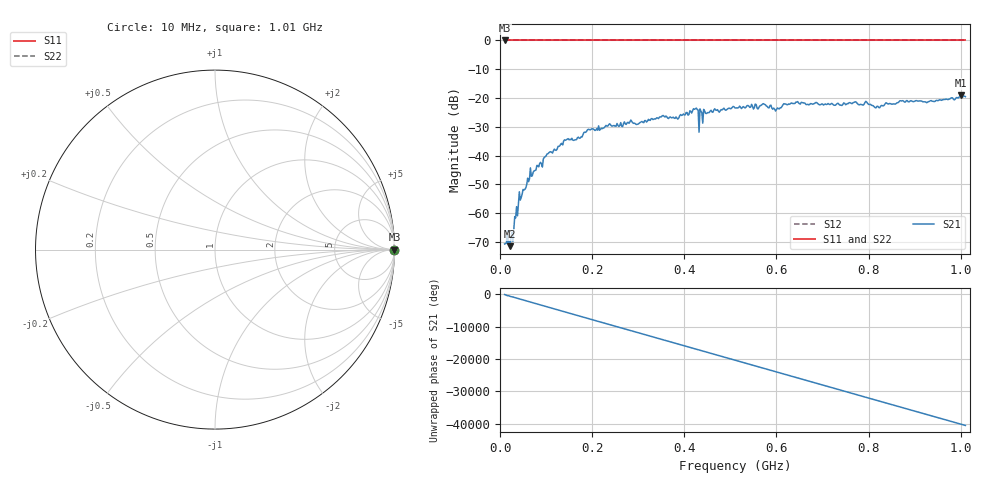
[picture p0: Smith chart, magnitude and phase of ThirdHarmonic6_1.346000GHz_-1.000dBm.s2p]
! 8/16/2025 3:07:53 PM
! C:\ANRITSUVNA\TEMP\TEMP.S2P
! CHANNEL.1
! TR.MEASUREMENT
! RAW.DATA
! RF.CORRECTION.OFF
! AVERAGING.OFF
! IF.BANDWIDTH: 5KHZ
! SWEEPTYPE:  FREQ.SWEEP(Linear)
! Reference Plane Port Info
! PORT:  PORT1  PORT2
! DISTANCE:  0  m  0  m
! TIME:  0  s  0  s
! PHASE.OFFSET:  0  deg.  0  deg.
! LOSS:  0  dB  0  dB
! REF.LOSS:  0  dB  0  dB
! REF.FREQ:  0  Hz  0  Hz
! Power Info
! POWER:  -20  dBm  -20  dBm
! EFF.POWER:  -20  dBm  -20  dBm
! SOURCE.ATTEN:  0  dB  0  dB
! TEST.ATTEN:  0  dB  0  dB
# GHZ S RI R 50.0
! FREQ.GHZ  S11RE  S11IM  S21RE  S21IM  S12RE  S12IM  S22RE  S22IM
!; PortSelection: Port_12
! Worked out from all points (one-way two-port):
!   501 points, 10 MHz to 1.01 GHz, reference 50 ohm
!   highest |S21| = -19.08 dB at 1 GHz (marker M1); lowest = -71.4 dB at 22 MHz (marker M2)
!   lowest |S11| = 0.0 dB at 10 MHz (marker M3)
!   |S11| at or under -10 dB: nowhere
!   |S22| runs from 0.0 to 0.0 dB; largest |S21 - S12| = 1.1
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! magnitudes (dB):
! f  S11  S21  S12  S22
! 10 MHz  0.0  -70.7  0.0  0.0
! 22 MHz  0.0  -71.4  0.0  0.0
! 26 MHz  0.0  -66.5  0.0  0.0
! 44 MHz  0.0  -55.4  0.0  0.0
! 64 MHz  0.0  -48.1  0.0  0.0
! 106 MHz  0.0  -39.0  0.0  0.0
! 144 MHz  0.0  -34.5  0.0  0.0
! 178 MHz  0.0  -33.5  0.0  0.0
! 196 MHz  0.0  -31.0  0.0  0.0
! 344 MHz  0.0  -27.1  0.0  0.0
! 384 MHz  0.0  -27.0  0.0  0.0
! 424 MHz  0.0  -23.7  0.0  0.0
! 436 MHz  0.0  -24.6  0.0  0.0
! 438 MHz  0.0  -25.0  0.0  0.0
! 510 MHz  0.0  -23.4  0.0  0.0
! 572 MHz  0.0  -22.0  0.0  0.0
! 596 MHz  0.0  -23.9  0.0  0.0
! 618 MHz  0.0  -22.0  0.0  0.0
! 678 MHz  0.0  -22.1  0.0  0.0
! 844 MHz  0.0  -22.0  0.0  0.0
! 1 GHz  0.0  -19.1  0.0  0.0
! 1.01 GHz  0.0  -19.5  0.0  0.0
